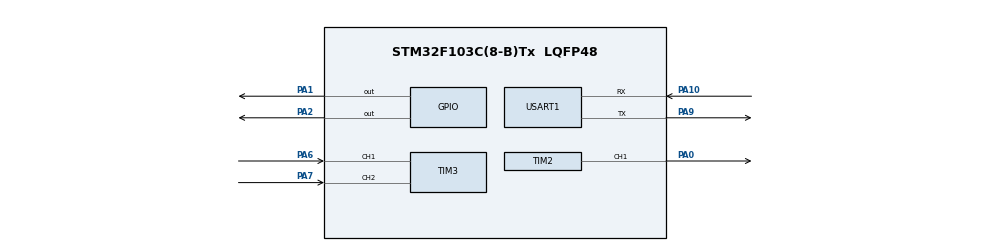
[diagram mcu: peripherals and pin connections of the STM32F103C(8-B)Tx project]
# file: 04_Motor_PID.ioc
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Mcu.Family=STM32F1
Mcu.Name=STM32F103C(8-B)Tx
Mcu.Package=LQFP48
NVIC.PriorityGroup=NVIC_PRIORITYGROUP_4
PA0-WKUP.Signal=S_TIM2_CH1_ETR
PA1.Signal=GPIO_Output
PA10.Mode=Asynchronous
PA10.Signal=USART1_RX
PA13.Mode=Serial_Wire
PA13.Signal=SYS_JTMS-SWDIO
PA14.Mode=Serial_Wire
PA14.Signal=SYS_JTCK-SWCLK
PA2.Signal=GPIO_Output
PA6.Signal=S_TIM3_CH1
PA7.Signal=S_TIM3_CH2
PA9.Mode=Asynchronous
PA9.Signal=USART1_TX
ProjectManager.HeapSize=0x200
ProjectManager.StackSize=0x400
ProjectManager.TargetToolchain=STM32CubeIDE
RCC.APB1Freq_Value=8000000
RCC.APB2Freq_Value=8000000
SH.S_TIM2_CH1_ETR.0=TIM2_CH1,PWM Generation1 CH1
SH.S_TIM3_CH1.0=TIM3_CH1,Encoder_Interface
SH.S_TIM3_CH2.0=TIM3_CH2,Encoder_Interface
TIM2.Channel-PWM\ Generation1\ CH1=TIM_CHANNEL_1
TIM2.Period=999
TIM2.Prescaler=71
USART1.VirtualMode=VM_ASYNC
board=custom

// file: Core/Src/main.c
/* USER CODE BEGIN Header */
/**
  ******************************************************************************
  * @file           : main.c
  * @brief          : Main program body
  ******************************************************************************
  * @attention
  *
  * Copyright (c) 2026 STMicroelectronics.
  * All rights reserved.
  *
  * This software is licensed under terms that can be found in the LICENSE file
  * in the root directory of this software component.
  * If no LICENSE file comes with this software, it is provided AS-IS.
  *
  ******************************************************************************
  */
/* USER CODE END Header */
#include "main.h"

/* USER CODE BEGIN Includes */
#include <stdio.h>
#include <string.h>
/* USER CODE END Includes */

TIM_HandleTypeDef htim2;
TIM_HandleTypeDef htim3;

UART_HandleTypeDef huart1;

void SystemClock_Config(void);
static void MX_GPIO_Init(void);
static void MX_TIM2_Init(void);
static void MX_TIM3_Init(void);
static void MX_USART1_UART_Init(void);

/* USER CODE BEGIN 0 */
// PID 参数与变量
volatile float Kp = 4.5f;
volatile float Ki = 0.45f;
volatile float Kd = 0.15f;
volatile float target_rpm = 160.0f;
volatile float current_rpm = 0.0f;
volatile float pid_output = 0.0f;

// PID 内部状态
static float integral = 0.0f;
static float last_error = 0.0f;
static float prev_error = 0.0f;

// 编码器每圈脉冲数（电机轴）
#define PULSES_PER_REV 836.0f

// 位置式 PID 计算（速度环）
void Motor_PID_Calc(void)
{
    float error = target_rpm - current_rpm;
    integral += error;
    if (integral > 500.0f) integral = 500.0f;
    if (integral < -100.0f) integral = -100.0f;

    float output = 650.0f;   // 基础占空比 65%
    output += Kp * error;
    output += Ki * integral;
    output += Kd * (error - 2.0f * last_error + prev_error);

    if (output > 900.0f) output = 900.0f;
    if (output < 50.0f)  output = 50.0f;

    pid_output = output;
    prev_error = last_error;
    last_error = error;
}

/* USER CODE END 0 */

int main(void)
{

  /* MCU Configuration--------------------------------------------------------*/

  /* Reset of all peripherals, Initializes the Flash interface and the Systick. */
  HAL_Init();

  /* Configure the system clock */
  SystemClock_Config();

  /* Initialize all configured peripherals */
  MX_GPIO_Init();
  MX_TIM2_Init();
  MX_TIM3_Init();
  MX_USART1_UART_Init();
  /* USER CODE BEGIN 2 */
  HAL_TIM_Encoder_Start(&htim3, TIM_CHANNEL_ALL);
  HAL_TIM_PWM_Start(&htim2, TIM_CHANNEL_1);

  HAL_GPIO_WritePin(GPIOA, GPIO_PIN_1, GPIO_PIN_SET);   // AIN1 = 高
  HAL_GPIO_WritePin(GPIOA, GPIO_PIN_2, GPIO_PIN_RESET); // AIN2 = 低
  __HAL_TIM_SET_COMPARE(&htim2, TIM_CHANNEL_1, 200);    // 初始占空比 20%

  char *msg = "PID Ready\r\n";
  HAL_UART_Transmit(&huart1, (uint8_t*)msg, strlen(msg), HAL_MAX_DELAY);

  /* USER CODE END 2 */

  /* Infinite loop */
  while (1)
  {

	  /* USER CODE BEGIN 3 */
	  HAL_Delay(10);

	  // 读取编码器，计算当前转速 (RPM)
	  static int32_t last_count = 0;
	  int32_t now_count = __HAL_TIM_GET_COUNTER(&htim3);
	  int32_t delta = now_count - last_count;
	  last_count = now_count;
	  current_rpm = (float)delta * 6000.0f / PULSES_PER_REV;

	  // PID 计算并更新 PWM
	  Motor_PID_Calc();
	  __HAL_TIM_SET_COMPARE(&htim2, TIM_CHANNEL_1, (uint16_t)pid_output);

	  // 每 50ms 发送一次数据给 VOFA+（兼容 JustFloat 和 FireWater）
	  static uint32_t last_send_time = 0;
	  uint32_t now = HAL_GetTick();
	  if (now - last_send_time >= 50)
	  {
	      last_send_time = now;
	      // 用纯整数方式发送，避免 printf 浮点问题
	      int32_t t_int = (int32_t)(target_rpm * 10);   // 放大10倍保留1位小数
	      int32_t a_int = (int32_t)(current_rpm * 10);
	      char buf[40];
	      int len = sprintf(buf, "%ld.%ld,%ld.%ld\r\n",
	                        t_int/10, t_int%10,
	                        a_int/10, (a_int<0 ? -a_int : a_int)%10);
	      HAL_UART_Transmit(&huart1, (uint8_t*)buf, len, HAL_MAX_DELAY);
	  }
	  /* USER CODE END 3 */
  }
}
void SystemClock_Config(void)
{
  RCC_OscInitTypeDef RCC_OscInitStruct = {0};
  RCC_ClkInitTypeDef RCC_ClkInitStruct = {0};

  /** Initializes the RCC Oscillators according to the specified parameters
  * in the RCC_OscInitTypeDef structure.
  */
  RCC_OscInitStruct.OscillatorType = RCC_OSCILLATORTYPE_HSI;
  RCC_OscInitStruct.HSIState = RCC_HSI_ON;
  RCC_OscInitStruct.HSICalibrationValue = RCC_HSICALIBRATION_DEFAULT;
  RCC_OscInitStruct.PLL.PLLState = RCC_PLL_NONE;
  if (HAL_RCC_OscConfig(&RCC_OscInitStruct) != HAL_OK)
  {
    Error_Handler();
  }

  /** Initializes the CPU, AHB and APB buses clocks
  */
  RCC_ClkInitStruct.ClockType = RCC_CLOCKTYPE_HCLK|RCC_CLOCKTYPE_SYSCLK
                              |RCC_CLOCKTYPE_PCLK1|RCC_CLOCKTYPE_PCLK2;
  RCC_ClkInitStruct.SYSCLKSource = RCC_SYSCLKSOURCE_HSI;
  RCC_ClkInitStruct.AHBCLKDivider = RCC_SYSCLK_DIV1;
  RCC_ClkInitStruct.APB1CLKDivider = RCC_HCLK_DIV1;
  RCC_ClkInitStruct.APB2CLKDivider = RCC_HCLK_DIV1;

  if (HAL_RCC_ClockConfig(&RCC_ClkInitStruct, FLASH_LATENCY_0) != HAL_OK)
  {
    Error_Handler();
  }
}

static void MX_TIM2_Init(void)
{

  TIM_MasterConfigTypeDef sMasterConfig = {0};
  TIM_OC_InitTypeDef sConfigOC = {0};

  htim2.Instance = TIM2;
  htim2.Init.Prescaler = 71;
  htim2.Init.CounterMode = TIM_COUNTERMODE_UP;
  htim2.Init.Period = 999;
  htim2.Init.ClockDivision = TIM_CLOCKDIVISION_DIV1;
  htim2.Init.AutoReloadPreload = TIM_AUTORELOAD_PRELOAD_DISABLE;
  if (HAL_TIM_PWM_Init(&htim2) != HAL_OK)
  {
    Error_Handler();
  }
  sMasterConfig.MasterOutputTrigger = TIM_TRGO_RESET;
  sMasterConfig.MasterSlaveMode = TIM_MASTERSLAVEMODE_DISABLE;
  if (HAL_TIMEx_MasterConfigSynchronization(&htim2, &sMasterConfig) != HAL_OK)
  {
    Error_Handler();
  }
  sConfigOC.OCMode = TIM_OCMODE_PWM1;
  sConfigOC.Pulse = 0;
  sConfigOC.OCPolarity = TIM_OCPOLARITY_HIGH;
  sConfigOC.OCFastMode = TIM_OCFAST_DISABLE;
  if (HAL_TIM_PWM_ConfigChannel(&htim2, &sConfigOC, TIM_CHANNEL_1) != HAL_OK)
  {
    Error_Handler();
  }
  HAL_TIM_MspPostInit(&htim2);

}

static void MX_TIM3_Init(void)
{

  TIM_Encoder_InitTypeDef sConfig = {0};
  TIM_MasterConfigTypeDef sMasterConfig = {0};

  htim3.Instance = TIM3;
  htim3.Init.Prescaler = 0;
  htim3.Init.CounterMode = TIM_COUNTERMODE_UP;
  htim3.Init.Period = 65535;
  htim3.Init.ClockDivision = TIM_CLOCKDIVISION_DIV1;
  htim3.Init.AutoReloadPreload = TIM_AUTORELOAD_PRELOAD_DISABLE;
  sConfig.EncoderMode = TIM_ENCODERMODE_TI1;
  sConfig.IC1Polarity = TIM_ICPOLARITY_RISING;
  sConfig.IC1Selection = TIM_ICSELECTION_DIRECTTI;
  sConfig.IC1Prescaler = TIM_ICPSC_DIV1;
  sConfig.IC1Filter = 0;
  sConfig.IC2Polarity = TIM_ICPOLARITY_RISING;
  sConfig.IC2Selection = TIM_ICSELECTION_DIRECTTI;
  sConfig.IC2Prescaler = TIM_ICPSC_DIV1;
  sConfig.IC2Filter = 0;
  if (HAL_TIM_Encoder_Init(&htim3, &sConfig) != HAL_OK)
  {
    Error_Handler();
  }
  sMasterConfig.MasterOutputTrigger = TIM_TRGO_RESET;
  sMasterConfig.MasterSlaveMode = TIM_MASTERSLAVEMODE_DISABLE;
  if (HAL_TIMEx_MasterConfigSynchronization(&htim3, &sMasterConfig) != HAL_OK)
  {
    Error_Handler();
  }

}

static void MX_USART1_UART_Init(void)
{

  huart1.Instance = USART1;
  huart1.Init.BaudRate = 115200;
  huart1.Init.WordLength = UART_WORDLENGTH_8B;
  huart1.Init.StopBits = UART_STOPBITS_1;
  huart1.Init.Parity = UART_PARITY_NONE;
  huart1.Init.Mode = UART_MODE_TX_RX;
  huart1.Init.HwFlowCtl = UART_HWCONTROL_NONE;
  huart1.Init.OverSampling = UART_OVERSAMPLING_16;
  if (HAL_UART_Init(&huart1) != HAL_OK)
  {
    Error_Handler();
  }

}

static void MX_GPIO_Init(void)
{
  GPIO_InitTypeDef GPIO_InitStruct = {0};

  /* GPIO Ports Clock Enable */
  __HAL_RCC_GPIOA_CLK_ENABLE();

  /*Configure GPIO pin Output Level */
  HAL_GPIO_WritePin(GPIOA, GPIO_PIN_1|GPIO_PIN_2, GPIO_PIN_RESET);

  /*Configure GPIO pins : PA1 PA2 */
  GPIO_InitStruct.Pin = GPIO_PIN_1|GPIO_PIN_2;
  GPIO_InitStruct.Mode = GPIO_MODE_OUTPUT_PP;
  GPIO_InitStruct.Pull = GPIO_NOPULL;
  GPIO_InitStruct.Speed = GPIO_SPEED_FREQ_LOW;
  HAL_GPIO_Init(GPIOA, &GPIO_InitStruct);

}

void Error_Handler(void)
{
  __disable_irq();
  while (1)
  {
  }
}
